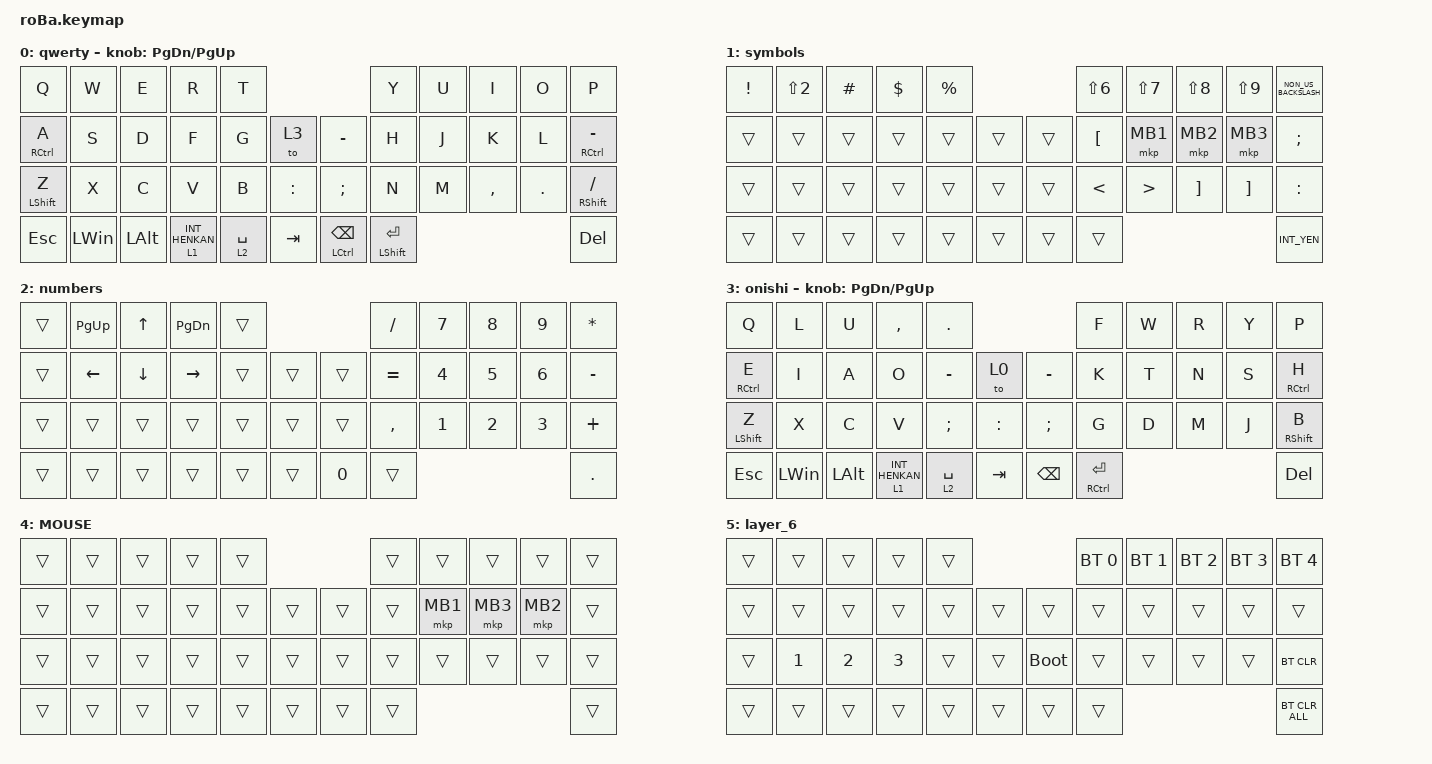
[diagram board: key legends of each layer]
#include <behaviors.dtsi>
#include <dt-bindings/zmk/bt.h>
#include <dt-bindings/zmk/keys.h>
#include <dt-bindings/zmk/pointing.h>

&mt {
    flavor = "balanced";
    quick-tap-ms = <0>;
};

&trackball {
    automouse-layer = <4>;
    scroll-layers = <5>;

    // arrows {
    //     layers = <3>;
    //     bindings =
    //         <&kp RIGHT_ARROW>,
    //         <&kp LEFT_ARROW>,
    //         <&kp UP_ARROW>,
    //         <&kp DOWN_ARROW>;
    //     tick = <10>;
    //     wait-ms = <5>;
    //     tap-ms = <5>;
    // };
};

/ {
    combos {
        compatible = "zmk,combos";

        tab {
            bindings = <&kp TAB>;
            key-positions = <11 12>;
        };

        shift_tab {
            bindings = <&kp LS(TAB)>;
            key-positions = <12 13>;
        };

        muhennkann {
            bindings = <&to_layer_0 INT_MUHENKAN>;
            key-positions = <11 10>;
        };

        double_quotation {
            bindings = <&kp DOUBLE_QUOTES>;
            key-positions = <20 21>;
        };

        eq {
            bindings = <&kp EQUAL>;
            key-positions = <24 25>;
        };
    };

    macros {
        to_layer_0: to_layer_0 {
            compatible = "zmk,behavior-macro-one-param";
            #binding-cells = <1>;
            bindings = <&to 0 &macro_param_1to1 &kp MACRO_PLACEHOLDER>;
            label = "TO_LAYER_0";
        };
    };

    behaviors {
        lt_to_layer_0: lt_to_layer_0 {
            compatible = "zmk,behavior-hold-tap";
            label = "LAYER_TAP_TO_0";
            bindings = <&mo>, <&to_layer_0>;

            #binding-cells = <2>;
            tapping-term-ms = <200>;
        };
    };

    keymap {
        compatible = "zmk,keymap";

        qwerty {
            bindings = <
&kp Q                &kp W         &kp E         &kp R             &kp T                                            &kp Y            &kp U  &kp I      &kp O    &kp P
&mt RIGHT_CONTROL A  &kp S         &kp D         &kp F             &kp G        &to 3          &kp MINUS            &kp H            &kp J  &kp K      &kp L    &mt RIGHT_CONTROL MINUS
&mt LEFT_SHIFT Z     &kp X         &kp C         &kp V             &kp B        &kp COLON      &kp SEMICOLON        &kp N            &kp M  &kp COMMA  &kp DOT  &mt RIGHT_SHIFT SLASH
&kp ESCAPE           &kp LEFT_WIN  &kp LEFT_ALT  &lt 1 INT_HENKAN  &lt 2 SPACE  &kp TAB        &mt LCTRL BACKSPACE  &mt LSHFT ENTER                             &kp DEL
            >;

            sensor-bindings = <&inc_dec_kp PAGE_DOWN PAGE_UP>;
        };

        symbols {
            bindings = <
&kp EXCL  &kp LS(NUMBER_2)  &kp HASH  &kp DOLLAR  &kp PERCENT                      &kp LS(NUMBER_6)  &kp LS(N7)        &kp LS(N8)  &kp LS(N9)         &kp NON_US_BACKSLASH
&trans    &trans            &trans    &trans      &trans       &trans      &trans  &kp LEFT_BRACKET  &mkp MB1          &mkp MB2    &mkp MB3           &kp SEMI
&trans    &trans            &trans    &trans      &trans       &trans      &trans  &kp LESS_THAN     &kp GREATER_THAN  &kp RBKT    &kp RIGHT_BRACKET  &kp COLON
&trans    &trans            &trans    &trans      &trans       &trans      &trans  &trans                                                             &kp INT_YEN
            >;
        };

        numbers {
            bindings = <
&trans  &kp PAGE_UP  &kp UP_ARROW    &kp PAGE_DOWN  &trans                      &kp SLASH  &kp N7        &kp N8        &kp N9        &kp ASTRK
&trans  &kp LEFT     &kp DOWN_ARROW  &kp RIGHT      &trans  &trans      &trans  &kp EQUAL  &kp NUMBER_4  &kp N5        &kp NUMBER_6  &kp MINUS
&trans  &trans       &trans          &trans         &trans  &trans      &trans  &kp COMMA  &kp NUMBER_1  &kp NUMBER_2  &kp NUMBER_3  &kp PLUS
&trans  &trans       &trans          &trans         &trans  &trans      &kp N0  &trans                                               &kp PERIOD
            >;
        };

        onishi {
            bindings = <
&kp Q                &kp L         &kp U         &kp COMMA         &kp PERIOD                                 &kp F            &kp W  &kp R  &kp Y  &kp P
&mt RIGHT_CONTROL E  &kp I         &kp A         &kp O             &kp MINUS    &to 0          &kp MINUS      &kp K            &kp T  &kp N  &kp S  &mt RIGHT_CONTROL H
&mt LEFT_SHIFT Z     &kp X         &kp C         &kp V             &kp SEMI     &kp COLON      &kp SEMICOLON  &kp G            &kp D  &kp M  &kp J  &mt RIGHT_SHIFT B
&kp ESCAPE           &kp LEFT_WIN  &kp LEFT_ALT  &lt 1 INT_HENKAN  &lt 2 SPACE  &kp TAB        &kp BACKSPACE  &mt RCTRL ENTER                       &kp DEL
            >;

            sensor-bindings = <&inc_dec_kp PAGE_DOWN PAGE_UP>;
        };

        MOUSE {
            bindings = <
&trans  &trans  &trans  &trans  &trans                      &trans  &trans    &trans    &trans    &trans
&trans  &trans  &trans  &trans  &trans  &trans      &trans  &trans  &mkp MB1  &mkp MB3  &mkp MB2  &trans
&trans  &trans  &trans  &trans  &trans  &trans      &trans  &trans  &trans    &trans    &trans    &trans
&trans  &trans  &trans  &trans  &trans  &trans      &trans  &trans                                &trans
            >;
        };

        layer_6 {
            bindings = <
&trans  &trans        &trans        &trans        &trans                           &bt BT_SEL 0  &bt BT_SEL 1  &bt BT_SEL 2  &bt BT_SEL 3  &bt BT_SEL 4
&trans  &trans        &trans        &trans        &trans  &trans      &trans       &trans        &trans        &trans        &trans        &trans
&trans  &kp NUMBER_1  &kp NUMBER_2  &kp NUMBER_3  &trans  &trans      &bootloader  &trans        &trans        &trans        &trans        &bt BT_CLR
&trans  &trans        &trans        &trans        &trans  &trans      &trans       &trans                                                  &bt BT_CLR_ALL
            >;
        };
    };
};
